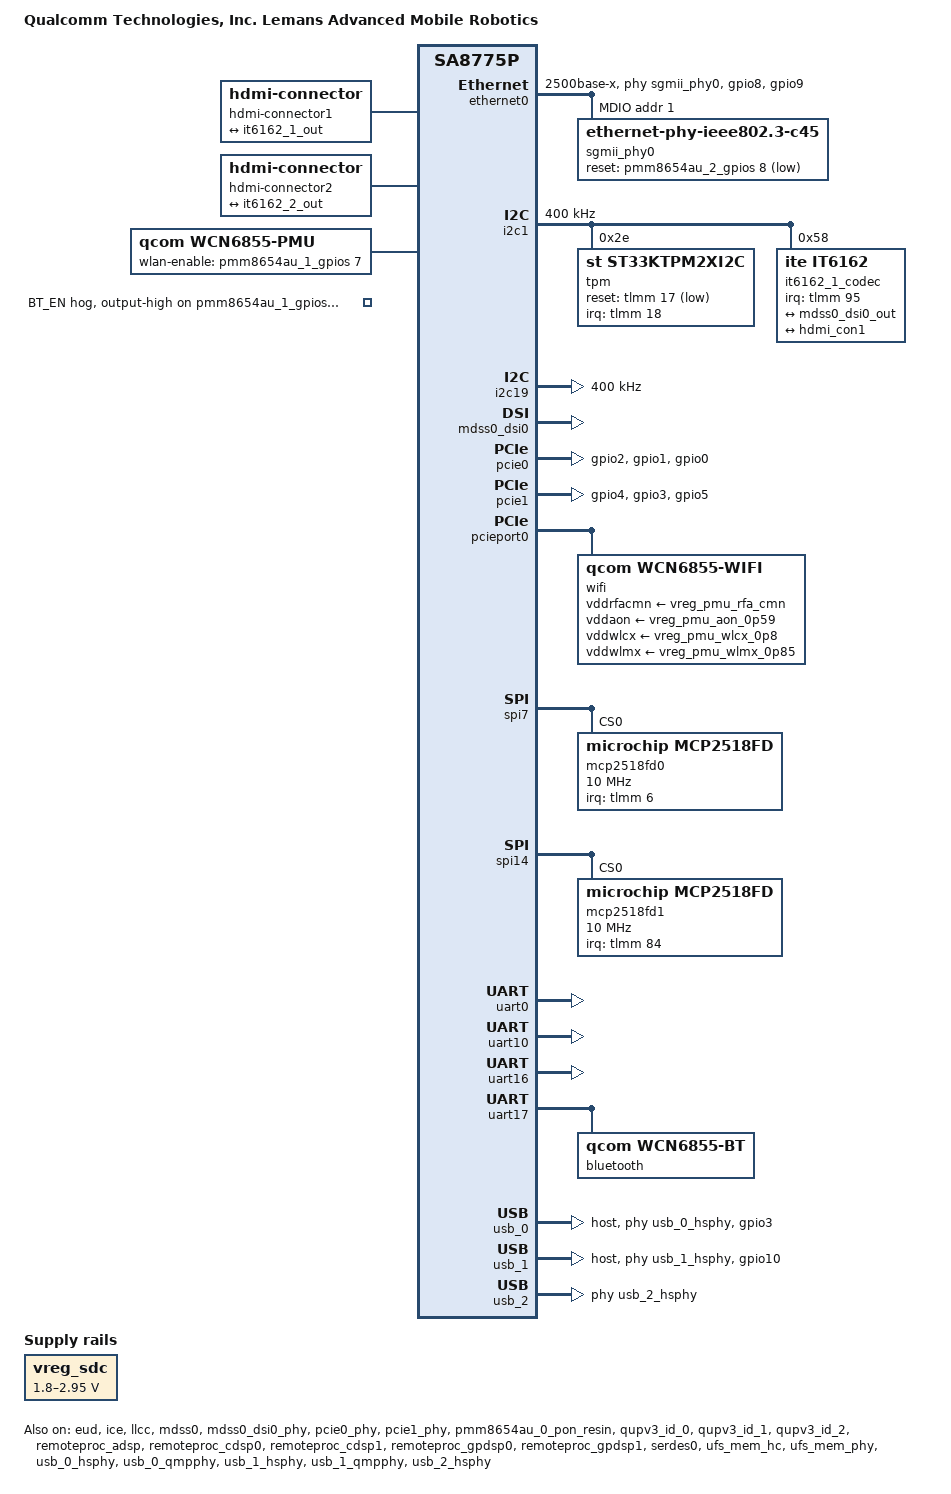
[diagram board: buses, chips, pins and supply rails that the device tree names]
// SPDX-License-Identifier: BSD-3-Clause
/*
 * Copyright (c) Qualcomm Technologies, Inc. and/or its subsidiaries.
 */

/dts-v1/;

#include <dt-bindings/gpio/gpio.h>
#include <dt-bindings/regulator/qcom,rpmh-regulator.h>
#include <dt-bindings/pwm/pwm.h>

#include "sa8775p.dtsi"
#include "sa8775p-pmics.dtsi"
#include "qcs9075-thermal.dtsi"
#include "qcs9xxx-reserved-memory.dtsi"

/delete-node/ &usb_2_dwc3;

/ {
	model = "Qualcomm Technologies, Inc. Lemans Advanced Mobile Robotics";
	compatible = "qcom,lemans-amr", "qcom,qcs9075", "qcom,sa8775p";
	qcom,msm-id = <676 0x20000>;
	qcom,board-id = <0x10020 2>, <0x10019 2>;

	aliases {
		serial0 = &uart10;
		spi7 = &spi7;
		spi14 = &spi14;
		i2c1  = &i2c1;
		i2c19 = &i2c19;
	};

	chosen {
		stdout-path = "serial0:115200n8";
	};

	hdmi-connector1 {
		compatible = "hdmi-connector";
		type = "a";

		port {
			hdmi_con1: endpoint {
				remote-endpoint = <&it6162_1_out>;
			};
		};
	};

	hdmi-connector2 {
		compatible = "hdmi-connector";
		type = "a";

		port {
			hdmi_con2: endpoint {
				remote-endpoint = <&it6162_2_out>;
			};
		};
	};

	wcn6855-pmu {
		compatible = "qcom,wcn6855-pmu";

		pinctrl-names = "default";
		pinctrl-0 = <&wlan_en_state>;
		wlan-enable-gpios = <&pmm8654au_1_gpios 7 GPIO_ACTIVE_HIGH>;

		regulators {
			vreg_pmu_rfa_cmn: ldo0 {
				regulator-name = "vreg_pmu_rfa_cmn";
			};

			vreg_pmu_aon_0p59: ldo1 {
				regulator-name = "vreg_pmu_aon_0p59";
			};

			vreg_pmu_wlcx_0p8: ldo2 {
				regulator-name = "vreg_pmu_wlcx_0p8";
			};

			vreg_pmu_wlmx_0p85: ldo3 {
				regulator-name = "vreg_pmu_wlmx_0p85";
			};

			vreg_pmu_btcmx_0p85: ldo4 {
				regulator-name = "vreg_pmu_btcmx_0p85";
			};

			vreg_pmu_rfa_0p8: ldo5 {
				regulator-name = "vreg_pmu_rfa_0p8";
			};

			vreg_pmu_rfa_1p2: ldo6 {
				regulator-name = "vreg_pmu_rfa_1p2";
			};

			vreg_pmu_rfa_1p7: ldo7 {
				regulator-name = "vreg_pmu_rfa_1p7";
			};

			vreg_pmu_pcie_0p9: ldo8 {
				regulator-name = "vreg_pmu_pcie_0p9";
			};

			vreg_pmu_pcie_1p8: ldo9 {
				regulator-name = "vreg_pmu_pcie_1p8";
			};
		};
	};
};

&apps_rsc {
	regulators-0 {
		compatible = "qcom,pmm8654au-rpmh-regulators";
		qcom,pmic-id = "a";

		vreg_s4a: smps4 {
			regulator-name = "vreg_s4a";
			regulator-min-microvolt = <1800000>;
			regulator-max-microvolt = <1816000>;
			regulator-initial-mode = <RPMH_REGULATOR_MODE_HPM>;
		};

		vreg_s5a: smps5 {
			regulator-name = "vreg_s5a";
			regulator-min-microvolt = <1850000>;
			regulator-max-microvolt = <1996000>;
			regulator-initial-mode = <RPMH_REGULATOR_MODE_HPM>;
		};

		vreg_s9a: smps9 {
			regulator-name = "vreg_s9a";
			regulator-min-microvolt = <535000>;
			regulator-max-microvolt = <1120000>;
			regulator-initial-mode = <RPMH_REGULATOR_MODE_HPM>;
		};

		vreg_l4a: ldo4 {
			regulator-name = "vreg_l4a";
			regulator-min-microvolt = <788000>;
			regulator-max-microvolt = <1050000>;
			regulator-initial-mode = <RPMH_REGULATOR_MODE_HPM>;
			regulator-allow-set-load;
			regulator-allowed-modes = <RPMH_REGULATOR_MODE_LPM
						   RPMH_REGULATOR_MODE_HPM>;
		};

		vreg_l5a: ldo5 {
			regulator-name = "vreg_l5a";
			regulator-min-microvolt = <870000>;
			regulator-max-microvolt = <950000>;
			regulator-initial-mode = <RPMH_REGULATOR_MODE_HPM>;
			regulator-allow-set-load;
			regulator-allowed-modes = <RPMH_REGULATOR_MODE_LPM
						   RPMH_REGULATOR_MODE_HPM>;
		};

		vreg_l6a: ldo6 {
			regulator-name = "vreg_l6a";
			regulator-min-microvolt = <870000>;
			regulator-max-microvolt = <970000>;
			regulator-initial-mode = <RPMH_REGULATOR_MODE_HPM>;
			regulator-allow-set-load;
			regulator-allowed-modes = <RPMH_REGULATOR_MODE_LPM
						   RPMH_REGULATOR_MODE_HPM>;
		};

		vreg_l7a: ldo7 {
			regulator-name = "vreg_l7a";
			regulator-min-microvolt = <720000>;
			regulator-max-microvolt = <950000>;
			regulator-initial-mode = <RPMH_REGULATOR_MODE_HPM>;
			regulator-allow-set-load;
			regulator-allowed-modes = <RPMH_REGULATOR_MODE_LPM
						   RPMH_REGULATOR_MODE_HPM>;
		};

		vreg_l8a: ldo8 {
			regulator-name = "vreg_l8a";
			regulator-min-microvolt = <2504000>;
			regulator-max-microvolt = <3300000>;
			regulator-initial-mode = <RPMH_REGULATOR_MODE_HPM>;
			regulator-allow-set-load;
			regulator-allowed-modes = <RPMH_REGULATOR_MODE_LPM
						   RPMH_REGULATOR_MODE_HPM>;
		};

		vreg_l9a: ldo9 {
			regulator-name = "vreg_l9a";
			regulator-min-microvolt = <2970000>;
			regulator-max-microvolt = <3544000>;
			regulator-initial-mode = <RPMH_REGULATOR_MODE_HPM>;
			regulator-allow-set-load;
			regulator-allowed-modes = <RPMH_REGULATOR_MODE_LPM
						   RPMH_REGULATOR_MODE_HPM>;
		};
	};

	regulators-1 {
		compatible = "qcom,pmm8654au-rpmh-regulators";
		qcom,pmic-id = "c";

		vreg_l1c: ldo1 {
			regulator-name = "vreg_l1c";
			regulator-min-microvolt = <1140000>;
			regulator-max-microvolt = <1260000>;
			regulator-initial-mode = <RPMH_REGULATOR_MODE_HPM>;
			regulator-allow-set-load;
			regulator-allowed-modes = <RPMH_REGULATOR_MODE_LPM
						   RPMH_REGULATOR_MODE_HPM>;
		};

		vreg_l2c: ldo2 {
			regulator-name = "vreg_l2c";
			regulator-min-microvolt = <900000>;
			regulator-max-microvolt = <1100000>;
			regulator-initial-mode = <RPMH_REGULATOR_MODE_HPM>;
			regulator-allow-set-load;
			regulator-allowed-modes = <RPMH_REGULATOR_MODE_LPM
						   RPMH_REGULATOR_MODE_HPM>;
		};

		vreg_l3c: ldo3 {
			regulator-name = "vreg_l3c";
			regulator-min-microvolt = <1100000>;
			regulator-max-microvolt = <1300000>;
			regulator-initial-mode = <RPMH_REGULATOR_MODE_HPM>;
			regulator-allow-set-load;
			regulator-allowed-modes = <RPMH_REGULATOR_MODE_LPM
						   RPMH_REGULATOR_MODE_HPM>;
		};

		vreg_l4c: ldo4 {
			regulator-name = "vreg_l4c";
			regulator-min-microvolt = <1200000>;
			regulator-max-microvolt = <1200000>;
			regulator-initial-mode = <RPMH_REGULATOR_MODE_HPM>;
			/*
			 * FIXME: This should have regulator-allow-set-load but
			 * we're getting an over-current fault from the PMIC
			 * when switching to LPM.
			 */
		};

		vreg_l5c: ldo5 {
			regulator-name = "vreg_l5c";
			regulator-min-microvolt = <1100000>;
			regulator-max-microvolt = <1300000>;
			regulator-initial-mode = <RPMH_REGULATOR_MODE_HPM>;
			regulator-allow-set-load;
			regulator-allowed-modes = <RPMH_REGULATOR_MODE_LPM
						   RPMH_REGULATOR_MODE_HPM>;
		};

		vreg_l6c: ldo6 {
			regulator-name = "vreg_l6c";
			regulator-min-microvolt = <1620000>;
			regulator-max-microvolt = <1980000>;
			regulator-initial-mode = <RPMH_REGULATOR_MODE_HPM>;
			regulator-allow-set-load;
			regulator-allowed-modes = <RPMH_REGULATOR_MODE_LPM
						   RPMH_REGULATOR_MODE_HPM>;
		};

		vreg_l7c: ldo7 {
			regulator-name = "vreg_l7c";
			regulator-min-microvolt = <1620000>;
			regulator-max-microvolt = <2000000>;
			regulator-initial-mode = <RPMH_REGULATOR_MODE_HPM>;
			regulator-allow-set-load;
			regulator-allowed-modes = <RPMH_REGULATOR_MODE_LPM
						   RPMH_REGULATOR_MODE_HPM>;
		};

		vreg_l8c: ldo8 {
			regulator-name = "vreg_l8c";
			regulator-min-microvolt = <2400000>;
			regulator-max-microvolt = <3300000>;
			regulator-initial-mode = <RPMH_REGULATOR_MODE_HPM>;
			regulator-allow-set-load;
			regulator-allowed-modes = <RPMH_REGULATOR_MODE_LPM
						   RPMH_REGULATOR_MODE_HPM>;
		};

		vreg_l9c: ldo9 {
			regulator-name = "vreg_l9c";
			regulator-min-microvolt = <1650000>;
			regulator-max-microvolt = <2700000>;
			regulator-initial-mode = <RPMH_REGULATOR_MODE_HPM>;
			regulator-allow-set-load;
			regulator-allowed-modes = <RPMH_REGULATOR_MODE_LPM
						   RPMH_REGULATOR_MODE_HPM>;
		};
	};

	regulators-2 {
		compatible = "qcom,pmm8654au-rpmh-regulators";
		qcom,pmic-id = "e";

		vreg_s4e: smps4 {
			regulator-name = "vreg_s4e";
			regulator-min-microvolt = <970000>;
			regulator-max-microvolt = <1520000>;
			regulator-initial-mode = <RPMH_REGULATOR_MODE_HPM>;
		};

		vreg_s7e: smps7 {
			regulator-name = "vreg_s7e";
			regulator-min-microvolt = <1010000>;
			regulator-max-microvolt = <1170000>;
			regulator-initial-mode = <RPMH_REGULATOR_MODE_HPM>;
		};

		vreg_s9e: smps9 {
			regulator-name = "vreg_s9e";
			regulator-min-microvolt = <300000>;
			regulator-max-microvolt = <570000>;
			regulator-initial-mode = <RPMH_REGULATOR_MODE_HPM>;
		};

		vreg_l6e: ldo6 {
			regulator-name = "vreg_l6e";
			regulator-min-microvolt = <1280000>;
			regulator-max-microvolt = <1450000>;
			regulator-initial-mode = <RPMH_REGULATOR_MODE_HPM>;
			regulator-allow-set-load;
			regulator-allowed-modes = <RPMH_REGULATOR_MODE_LPM
						   RPMH_REGULATOR_MODE_HPM>;
		};

		vreg_l8e: ldo8 {
			regulator-name = "vreg_l8e";
			regulator-min-microvolt = <1800000>;
			regulator-max-microvolt = <1950000>;
			regulator-initial-mode = <RPMH_REGULATOR_MODE_HPM>;
			regulator-allow-set-load;
			regulator-allowed-modes = <RPMH_REGULATOR_MODE_LPM
						   RPMH_REGULATOR_MODE_HPM>;
		};
	};
};

&ethernet0 {
	phy-handle = <&sgmii_phy0>;
	phy-mode = "2500base-x";

	pinctrl-0 = <&ethernet0_default>;
	pinctrl-names = "default";

	snps,mtl-rx-config = <&mtl_rx_setup>;
	snps,mtl-tx-config = <&mtl_tx_setup>;
	snps,ps-speed = <1000>;

	status = "okay";

	mdio {
		compatible = "snps,dwmac-mdio";
		#address-cells = <1>;
		#size-cells = <0>;

		sgmii_phy0: phy@1 {
			compatible = "ethernet-phy-ieee802.3-c45";
			reg = <0x1>;
			device_type = "ethernet-phy";
			reset-gpios = <&pmm8654au_2_gpios 8 GPIO_ACTIVE_LOW>;
			reset-assert-us = <11000>;
			reset-deassert-us = <70000>;
		};
	};

	mtl_rx_setup: rx-queues-config {
		snps,rx-queues-to-use = <4>;
		snps,rx-sched-sp;

		queue0 {
			snps,dcb-algorithm;
			snps,map-to-dma-channel = <0x0>;
			snps,route-up;
			snps,priority = <0x1>;
		};

		queue1 {
			snps,dcb-algorithm;
			snps,map-to-dma-channel = <0x1>;
			snps,route-ptp;
		};

		queue2 {
			snps,avb-algorithm;
			snps,map-to-dma-channel = <0x2>;
			snps,route-avcp;
		};

		queue3 {
			snps,avb-algorithm;
			snps,map-to-dma-channel = <0x3>;
			snps,priority = <0xc>;
		};
	};

	mtl_tx_setup: tx-queues-config {
		snps,tx-queues-to-use = <4>;
		snps,tx-sched-sp;

		queue0 {
			snps,dcb-algorithm;
		};

		queue1 {
			snps,dcb-algorithm;
		};

		queue2 {
			snps,avb-algorithm;
			snps,send_slope = <0x1000>;
			snps,idle_slope = <0x1000>;
			snps,high_credit = <0x3e800>;
			snps,low_credit = <0xffc18000>;
		};

		queue3 {
			snps,avb-algorithm;
			snps,send_slope = <0x1000>;
			snps,idle_slope = <0x1000>;
			snps,high_credit = <0x3e800>;
			snps,low_credit = <0xffc18000>;
		};
	};
};

&eud {
	status = "okay";
};

&gpi_dma0 {
	status = "okay";
};

&gpi_dma1 {
	status = "okay";
};

&gpi_dma2 {
	status = "okay";
};

&i2c1 {
	status = "okay";
	clock-frequency = <400000>;

	tpm@2e {
		compatible = "st,st33ktpm2xi2c", "tcg,tpm-tis-i2c";
		reg = <0x2e>;

		interrupts-extended = <&tlmm 18 IRQ_TYPE_LEVEL_HIGH>;
		reset-gpios = <&tlmm 17 GPIO_ACTIVE_LOW>;
	};

	it6162_1_codec: hdmi-bridge@58 {
		compatible = "ite,it6162";
		reg = <0x58>;
		#sound-dai-cells = <1>;
		ite,i2s-audio;

		interrupts-extended = <&tlmm 95 IRQ_TYPE_LEVEL_LOW>;
		pinctrl-names = "default";
		pinctrl-0 = <&it6162_1_irq_pin>;

		ports {
			#address-cells = <1>;
			#size-cells = <0>;

			port@0 {
				reg = <0>;

				it6162_1_a: endpoint {
					data-lanes = <0 1 2 3>;
					// ite,mipi-dsi-phy-pn-swap;
					// ite,mipi-dsi-phy-link-swap;
					remote-endpoint = <&mdss0_dsi0_out>;
				};
			};

			port@2 {
				reg = <2>;

				it6162_1_out: endpoint {
					remote-endpoint = <&hdmi_con1>;
				};
			};
		};
	};
};

&i2c18 {
	pinctrl-0 = <&qup_i2c18_default>;
	pinctrl-names = "default";

	status = "disabled";

	expander0: pca953x@38 {
		compatible = "ti,tca9538";
		#gpio-cells = <2>;
		gpio-controller;
		reg = <0x38>;
	};

	expander1: pca953x@39 {
		compatible = "ti,tca9538";
		#gpio-cells = <2>;
		gpio-controller;
		reg = <0x39>;
	};

	expander2: pca953x@3a {
		compatible = "ti,tca9538";
		#gpio-cells = <2>;
		gpio-controller;
		reg = <0x3a>;
	};

	expander3: pca953x@3b {
		compatible = "ti,tca9538";
		#gpio-cells = <2>;
		gpio-controller;
		reg = <0x3b>;
	};

	eeprom0: eeprom@50 {
		compatible = "atmel,24c256";
		reg = <0x50>;
		pagesize = <64>;

		nvmem-layout {
			compatible = "fixed-layout";
			#address-cells = <1>;
			#size-cells = <1>;

			mac_addr0: mac-addr@0 {
				reg = <0x0 0x6>;
			};
		};
	};
};

&i2c19 {
	clock-frequency = <400000>;
	qcom,load-firmware;
	qcom,xfer-mode = <1>;

	it6162_2_codec: hdmi-bridge@58 {
		compatible = "ite,it6162";
		reg = <0x58>;

		interrupts-extended = <&tlmm 97 IRQ_TYPE_LEVEL_LOW>;
		pinctrl-names = "default";
		pinctrl-0 = <&it6162_2_irq_pin>;
		status = "disabled";

		ports {
			#address-cells = <1>;
			#size-cells = <0>;

			port@0 {
				reg = <0>;

				it6162_2_a: endpoint {
					data-lanes = <0 1 2 3>;
					// ite,mipi-dsi-phy-pn-swap;
					// ite,mipi-dsi-phy-link-swap;
					remote-endpoint = <&mdss0_dsi1_out>;
				};
			};

			port@2 {
				reg = <2>;

				it6162_2_out: endpoint {
					remote-endpoint = <&hdmi_con2>;
				};
			};
		};
	};
};

&ice {
	status = "okay";
};

&llcc {
	status = "okay";
};

&mdss0 {
	status = "okay";
};

&mdss0_dp0_out {
	data-lanes = <0 1 2 3>;
	link-frequencies = /bits/ 64 <1620000000 2700000000 5400000000 8100000000>;
};

&mdss0_dp1_out {
	data-lanes = <0 1 2 3>;
	link-frequencies = /bits/ 64 <1620000000 2700000000 5400000000 8100000000>;
};

&mdss0_dsi0 {
	vdda-supply = <&vreg_l1c>;
	status = "okay";
};

&mdss0_dsi0_out {
	remote-endpoint = <&it6162_1_a>;
	data-lanes = <0 1 2 3>;
};

&mdss0_dsi0_phy {
	vdds-supply = <&vreg_l4a>;
	status = "okay";
};

&mdss0_dsi1 {
	vdda-supply = <&vreg_l1c>;
};

&mdss0_dsi1_out {
	remote-endpoint = <&it6162_2_a>;
	data-lanes = <0 1 2 3>;
};

&mdss0_dsi1_phy {
	vdds-supply = <&vreg_l4a>;
};

&pcie0 {
	perst-gpios = <&tlmm 2 GPIO_ACTIVE_LOW>;
	wake-gpios = <&tlmm 0 GPIO_ACTIVE_HIGH>;

	pinctrl-names = "default";
	pinctrl-0 = <&pcie0_default_state>;

	// Max up to 66 PCIe nodes (BDF)
	// <(BDF) &pcie_smmu (stream ID) 0x1>
	iommu-map = <0x0 &pcie_smmu 0x0000 0x1>,
		<0x100 &pcie_smmu 0x0001 0x1>,
		<0x101 &pcie_smmu 0x0002 0x1>,
		<0x208 &pcie_smmu 0x0003 0x1>,
		<0x210 &pcie_smmu 0x0004 0x1>,
		<0x218 &pcie_smmu 0x0005 0x1>,
		<0x280 &pcie_smmu 0x0006 0x1>,
		<0x281 &pcie_smmu 0x0007 0x1>,
		<0x282 &pcie_smmu 0x0008 0x1>,
		<0x283 &pcie_smmu 0x0009 0x1>,
		<0x284 &pcie_smmu 0x000a 0x1>,
		<0x285 &pcie_smmu 0x000b 0x1>,
		<0x286 &pcie_smmu 0x000c 0x1>,
		<0x287 &pcie_smmu 0x000d 0x1>,
		<0x288 &pcie_smmu 0x000e 0x1>,
		<0x289 &pcie_smmu 0x000f 0x1>,
		<0x28a &pcie_smmu 0x0010 0x1>,
		<0x28b &pcie_smmu 0x0011 0x1>,
		<0x28c &pcie_smmu 0x0012 0x1>,
		<0x28d &pcie_smmu 0x0013 0x1>,
		<0x28e &pcie_smmu 0x0014 0x1>,
		<0x28f &pcie_smmu 0x0015 0x1>,
		<0x290 &pcie_smmu 0x0016 0x1>,
		<0x291 &pcie_smmu 0x0017 0x1>,
		<0x292 &pcie_smmu 0x0018 0x1>,
		<0x293 &pcie_smmu 0x0019 0x1>,
		<0x300 &pcie_smmu 0x001a 0x1>,
		<0x400 &pcie_smmu 0x001b 0x1>,
		<0x500 &pcie_smmu 0x001c 0x1>,
		<0x501 &pcie_smmu 0x001d 0x1>,
		<0x600 &pcie_smmu 0x001e 0x1>,
		<0x601 &pcie_smmu 0x001f 0x1>,
		<0x700 &pcie_smmu 0x0020 0x1>,
		<0x701 &pcie_smmu 0x0021 0x1>,
		<0x800 &pcie_smmu 0x0022 0x1>,
		<0x801 &pcie_smmu 0x0023 0x1>;

	status = "okay";
};

&pcie1 {
	perst-gpios = <&tlmm 4 GPIO_ACTIVE_LOW>;
	wake-gpios = <&tlmm 5 GPIO_ACTIVE_HIGH>;

	pinctrl-names = "default";
	pinctrl-0 = <&pcie1_default_state>;

	status = "okay";
};

&pcie0_phy {
	vdda-phy-supply = <&vreg_l5a>;
	vdda-pll-supply = <&vreg_l1c>;

	status = "okay";
};

&pcie1_phy {
	vdda-phy-supply = <&vreg_l5a>;
	vdda-pll-supply = <&vreg_l1c>;

	status = "okay";
};

&pcieport0 {
	wifi@0 {
		compatible = "qcom,wcn6855-wifi";
		reg = <0x10000 0x0 0x0 0x0 0x0>;

		vddrfacmn-supply = <&vreg_pmu_rfa_cmn>;
		vddaon-supply = <&vreg_pmu_aon_0p59>;
		vddwlcx-supply = <&vreg_pmu_wlcx_0p8>;
		vddwlmx-supply = <&vreg_pmu_wlmx_0p85>;
		vddrfa0p8-supply = <&vreg_pmu_rfa_0p8>;
		vddrfa1p2-supply = <&vreg_pmu_rfa_1p2>;
		vddrfa1p7-supply = <&vreg_pmu_rfa_1p7>;
		vddpcie0p9-supply = <&vreg_pmu_pcie_0p9>;
		vddpcie1p8-supply = <&vreg_pmu_pcie_1p8>;
	};
};

&pmm8654au_0_pon_resin {
	linux,code = <KEY_VOLUMEDOWN>;
	status = "okay";
};

&pmm8654au_1_gpios {
	gpio-line-names = "PMIC_C_ID0",
			  "PMIC_C_ID1",
			  "UFS1_VER_ID",
			  "IPA_PWR",
			  "",
			  "WLAN_DBU4_EN",
			  "WLAN_EN",
			  "BT_EN",
			  "USB2_PWR_EN",
			  "USB2_FAULT";

	wlan_en_state: wlan-en-state {
		pins = "gpio7";
		function = "normal";
		output-low;
		bias-pull-down;
	};

	bt_en_hog: bt-en-hog {
		gpio-hog;
		gpios = <8 GPIO_ACTIVE_HIGH>;
		output-high;
		input-disable;
		line-name = "BT_EN";
	};
};

&pmm8654au_2_gpios {
	usb0_en_state: usb0-en-state {
		pins = "gpio3";
		function = "normal";
		output-high;
		power-source = <0>;
	};

	usb1_en_state: usb1-en-state {
		pins = "gpio10";
		function = "normal";
		output-high;
		power-source = <0>;
	};
};

&qupv3_id_0 {
	firmware-name = "qcom/sa8775p/qupv3fw.elf";
	status = "okay";
};

&qupv3_id_1 {
	firmware-name = "qcom/sa8775p/qupv3fw.elf";
	status = "okay";
};

&qupv3_id_2 {
	firmware-name = "qcom/sa8775p/qupv3fw.elf";
	status = "okay";
};

&qup_uart0_tx {
	bias-pull-up;
};

&qup_uart0_rx {
	bias-pull-down;
};

&qup_uart17_cts {
	bias-disable;
};

&qup_uart17_rts {
	bias-pull-down;
};

&qup_uart17_tx {
	bias-pull-up;
};

&qup_uart17_rx {
	bias-pull-down;
};

&remoteproc_adsp {
	firmware-name = "qcom/sa8775p/adsp.mbn";

	status = "okay";
};

&remoteproc_cdsp0 {
	firmware-name = "qcom/sa8775p/cdsp0.mbn";

	status = "okay";
};

&remoteproc_cdsp1 {
	firmware-name = "qcom/sa8775p/cdsp1.mbn";

	status = "okay";
};

&remoteproc_gpdsp0 {
	firmware-name = "qcom/sa8775p/gpdsp0.mbn";

	status = "okay";
};

&remoteproc_gpdsp1 {
	firmware-name = "qcom/sa8775p/gpdsp1.mbn";

	status = "okay";
};

&serdes0 {
	phy-supply = <&vreg_l5a>;

	status = "okay";
};

&sleep_clk {
	clock-frequency = <32768>;
};

&soc {
	vreg_sdc: regulator-sdc {
		compatible = "regulator-gpio";

		regulator-name = "vreg_sdc";
		regulator-min-microvolt = <1800000>;
		regulator-max-microvolt = <2950000>;
		regulator-type = "voltage";

		startup-delay-us = <100>;

		gpios = <&expander1 7 GPIO_ACTIVE_HIGH>;

		states = <1800000 0x1
			  2950000 0x0>;
	};
};

&spi7 {
	status = "okay";

	mcp2518fd0: can@0 {
		compatible = "microchip,mcp2518fd";
		reg = <0>;
		clock-frequency = <40000000>;
		spi-max-frequency = <10000000>;
		interrupt-names = "can_irq";
		interrupts-extended = <&tlmm 6 IRQ_TYPE_LEVEL_LOW>;
	};
};

&spi14 {
	status = "okay";

	mcp2518fd1: can@0 {
		compatible = "microchip,mcp2518fd";
		reg = <0>;
		clock-frequency = <40000000>;
		spi-max-frequency = <10000000>;
		interrupt-names = "can_irq";
		interrupts-extended = <&tlmm 84 IRQ_TYPE_LEVEL_LOW>;
	};
};

&tlmm {
	dp_hot_plug_det: dp-hot-plug-det-state {
		pins = "gpio101";
		function = "edp0_hot";
		bias-disable;
	};

	dp1_hot_plug_det: dp1-hot-plug-det-state {
		pins = "gpio102";
		function = "edp1_hot";
		bias-disable;
	};

	ethernet0_default: ethernet0-default-state {
		ethernet0_mdc: ethernet0-mdc-pins {
			pins = "gpio8";
			function = "emac0_mdc";
			drive-strength = <16>;
			bias-pull-up;
		};

		ethernet0_mdio: ethernet0-mdio-pins {
			pins = "gpio9";
			function = "emac0_mdio";
			drive-strength = <16>;
			bias-pull-up;
		};
	};

	it6162_1_irq_pin: it6162_1_irq_pin {
		pins = "gpio95";
		function = "gpio";
		drive-strength = <2>;
		bias-pull-high;
	};

	it6162_2_irq_pin: it6162_2_irq_pin {
		pins = "gpio97";
		function = "gpio";
		drive-strength = <2>;
		bias-pull-high;
	};

	pcie0_default_state: pcie0-default-state {
		perst-pins {
			pins = "gpio2";
			function = "gpio";
			drive-strength = <2>;
			bias-pull-down;
		};

		clkreq-pins {
			pins = "gpio1";
			function = "pcie0_clkreq";
			drive-strength = <2>;
			bias-pull-up;
		};

		wake-pins {
			pins = "gpio0";
			function = "gpio";
			drive-strength = <2>;
			bias-pull-up;
		};
	};

	pcie1_default_state: pcie1-default-state {
		perst-pins {
			pins = "gpio4";
			function = "gpio";
			drive-strength = <2>;
			bias-pull-down;
		};

		clkreq-pins {
			pins = "gpio3";
			function = "pcie1_clkreq";
			drive-strength = <2>;
			bias-pull-up;
		};

		wake-pins {
			pins = "gpio5";
			function = "gpio";
			drive-strength = <2>;
			bias-pull-up;
		};
	};

	qup_i2c18_default: qup-i2c18-state {
		pins = "gpio95", "gpio96";
		function = "qup2_se4";
		drive-strength = <2>;
		bias-pull-up;
	};

	qup_i2c11_default: qup-i2c11-state {
		pins = "gpio48", "gpio49";
		function = "qup1_se4";
		drive-strength = <2>;
		bias-pull-up;
	};

	qup_i2c19_default: qup-i2c19-state {
		pins = "gpio99", "gpio100";
		function = "qup2_se5";
		drive-strength = <2>;
		bias-pull-up;
	};

	sdc1_clk: sdc1-clk-state {
		pins = "sdc1_clk";
		bias-disable;
		drive-strength = <16>;
	};

	sdc1_cmd: sdc1-cmd-state {
		pins = "sdc1_cmd";
		bias-pull-up;
		drive-strength = <10>;
	};

	sdc1_data: sdc1-data-state {
		pins = "sdc1_data";
		bias-pull-up;
		drive-strength = <10>;
	};

	sdc1_clk_sleep: sdc1-clk-sleep-state {
		pins = "sdc1_clk";
		drive-strength = <2>;
		bias-bus-hold;
	};

	sdc1_cmd_sleep: sdc1-cmd-sleep-state {
		pins = "sdc1_cmd";
		drive-strength = <2>;
		bias-bus-hold;
	};

	sdc1_data_sleep: sdc1-data-sleep-state {
		pins = "sdc1_data";
		drive-strength = <2>;
		bias-bus-hold;
	};

	sd_cd: sd-cd-state {
		pins = "gpio36";
		function = "gpio";
		bias-pull-up;
	};
};

/delete-node/ &qup_uart0_rts;
/delete-node/ &qup_uart0_cts;

&uart0 {
	status = "okay";
};

&uart10 {
	compatible = "qcom,geni-debug-uart";

	status = "okay";
};

&uart16 {
	linux,rs485-enabled-at-boot-time;
	rs485-rts-active-low;

	status = "okay";
};

&uart17 {
	status = "okay";

	/* HS UART Instance */
	bluetooth: bluetooth {
		compatible = "qcom,wcn6855-bt";
		max-speed = <3200000>;
	};
};

&ufs_mem_hc {
	reset-gpios = <&tlmm 149 GPIO_ACTIVE_LOW>;
	vcc-supply = <&vreg_l8a>;
	vcc-max-microamp = <1100000>;
	vccq-supply = <&vreg_l4c>;
	vccq-max-microamp = <1200000>;

	status = "okay";
};

&ufs_mem_phy {
	vdda-phy-supply = <&vreg_l4a>;
	vdda-pll-supply = <&vreg_l1c>;

	status = "okay";
};

/delete-node/ &usb_0_dwc3;

&usb_0 {
	reg = <0x0 0x0a600000 0x0 0x200000>;

	interrupts-extended = <&intc GIC_SPI 292 IRQ_TYPE_LEVEL_HIGH>,
			      <&intc GIC_SPI 287 IRQ_TYPE_LEVEL_HIGH>,
			      <&pdc 14 IRQ_TYPE_EDGE_BOTH>,
			      <&pdc 15 IRQ_TYPE_EDGE_BOTH>,
			      <&pdc 12 IRQ_TYPE_LEVEL_HIGH>;
	interrupt-names = "dwc_usb3",
			  "pwr_event",
			  "dp_hs_phy_irq",
			  "dm_hs_phy_irq",
			  "ss_phy_irq";

	iommus = <&apps_smmu 0x080 0x0>;
	phys = <&usb_0_hsphy>, <&usb_0_qmpphy>;
	phy-names = "usb2-phy", "usb3-phy";

	dr_mode = "host";
	snps,dis_u2_susphy_quirk;
	snps,dis_enblslpm_quirk;
	maximum-speed = "super-speed-plus";
	qcom,enable-rt;
	wakeup-source;
	pinctrl-names = "default";
	pinctrl-0 = <&usb0_en_state>;
	status = "okay";
};

&usb_0_hsphy {
	vdda-pll-supply = <&vreg_l7a>;
	vdda18-supply = <&vreg_l6c>;
	vdda33-supply = <&vreg_l9a>;

	status = "okay";
};

&usb_0_qmpphy {
	vdda-phy-supply = <&vreg_l1c>;
	vdda-pll-supply = <&vreg_l7a>;

	status = "okay";
};

/delete-node/ &usb_1_dwc3;

&usb_1 {
	reg = <0x0 0x0a800000 0x0 0x200000>;
	interrupts-extended = <&intc GIC_SPI 349 IRQ_TYPE_LEVEL_HIGH>,
				<&intc GIC_SPI 352 IRQ_TYPE_LEVEL_HIGH>,
				<&pdc 8 IRQ_TYPE_EDGE_BOTH>,
				<&pdc 7 IRQ_TYPE_EDGE_BOTH>,
				<&pdc 13 IRQ_TYPE_LEVEL_HIGH>;
	interrupt-names = "dwc_usb3",
			"pwr_event",
			"dp_hs_phy_irq",
			"dm_hs_phy_irq",
			"ss_phy_irq";

	iommus = <&apps_smmu 0x0a0 0x0>;
	phys = <&usb_1_hsphy>, <&usb_1_qmpphy>;
	phy-names = "usb2-phy", "usb3-phy";
	snps,dis_u2_susphy_quirk;
	snps,dis_enblslpm_quirk;
	qcom,enable-rt;
	wakeup-source;
	maximum-speed = "super-speed-plus";
	dr_mode = "host";
	pinctrl-names = "default";
	pinctrl-0 = <&usb1_en_state>;
	status = "okay";
};

&usb_1_hsphy {
	vdda-pll-supply = <&vreg_l7a>;
	vdda18-supply = <&vreg_l6c>;
	vdda33-supply = <&vreg_l9a>;

	status = "okay";
};

&usb_1_qmpphy {
	vdda-phy-supply = <&vreg_l1c>;
	vdda-pll-supply = <&vreg_l7a>;

	status = "okay";
};

&usb_2 {
	reg = <0x0 0x0a400000 0x0 0x200000>;
	interrupts-extended = <&intc GIC_SPI 442 IRQ_TYPE_LEVEL_HIGH>,
				<&intc GIC_SPI 444 IRQ_TYPE_LEVEL_HIGH>,
				<&pdc 10 IRQ_TYPE_EDGE_BOTH>,
				<&pdc 9 IRQ_TYPE_EDGE_BOTH>;
	interrupt-names = "dwc_usb3",
			"pwr_event",
			"dp_hs_phy_irq",
			"dm_hs_phy_irq";

	iommus = <&apps_smmu 0x020 0x0>;
	phys = <&usb_2_hsphy>;
	phy-names = "usb2-phy";
	status = "okay";
};

&usb_2_hsphy {
	vdda-pll-supply = <&vreg_l7a>;
	vdda18-supply = <&vreg_l6c>;
	vdda33-supply = <&vreg_l9a>;

	status = "okay";
};

&xo_board_clk {
	clock-frequency = <38400000>;
};
